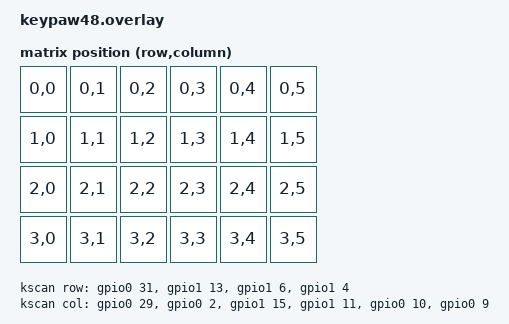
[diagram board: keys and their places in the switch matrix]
/*
 * Copyright (c) 2026 The ZMK Contributors
 * SPDX-License-Identifier: MIT
 */

#include <dt-bindings/zmk/matrix_transform.h>

#include "kp-pinctrl.dtsi"
#include "kp-leds.dtsi"
#include "kp-oled.dtsi"

#include "keypaw48-layouts.dtsi"


/ {
    chosen {
        zmk,physical-layout = &default_layout;
        zmk,underglow = &led_strip;
        zephyr,display = &oled;
    };

    kscan: kscan {
        compatible = "zmk,kscan-gpio-matrix";
        diode-direction = "col2row";
        wakeup-source;
        col-gpios
            = <&gpio0 29 GPIO_ACTIVE_HIGH>
            , <&gpio0  2 GPIO_ACTIVE_HIGH>
            , <&gpio1 15 GPIO_ACTIVE_HIGH>
            , <&gpio1 11 GPIO_ACTIVE_HIGH>
            , <&gpio0 10 GPIO_ACTIVE_HIGH>
            , <&gpio0  9 GPIO_ACTIVE_HIGH>
            ;

        row-gpios
            = <&gpio0 31 (GPIO_ACTIVE_HIGH | GPIO_PULL_DOWN)>
            , <&gpio1 13 (GPIO_ACTIVE_HIGH | GPIO_PULL_DOWN)>
            , <&gpio1  6 (GPIO_ACTIVE_HIGH | GPIO_PULL_DOWN)>
            , <&gpio1  4 (GPIO_ACTIVE_HIGH | GPIO_PULL_DOWN)>
            ;
    };

    default_transform: default_transform {
        compatible = "zmk,matrix-transform";
        columns = <6>;
        rows = <4>;

        map = <
            RC(0, 0) RC(0, 1) RC(0, 2) RC(0, 3) RC(0, 4) RC(0, 5)
            RC(1, 0) RC(1, 1) RC(1, 2) RC(1, 3) RC(1, 4) RC(1, 5)
            RC(2, 0) RC(2, 1) RC(2, 2) RC(2, 3) RC(2, 4) RC(2, 5)
            RC(3, 0) RC(3, 1) RC(3, 2) RC(3, 3) RC(3, 4) RC(3, 5)
        >;
    };

    // Node name must match original "EXT_POWER" label to preserve user settings.
    EXT_POWER {
        compatible = "zmk,ext-power-generic";
        control-gpios = <&gpio1 2 GPIO_ACTIVE_HIGH>;
        init-delay-ms = <100>;
    };
};
